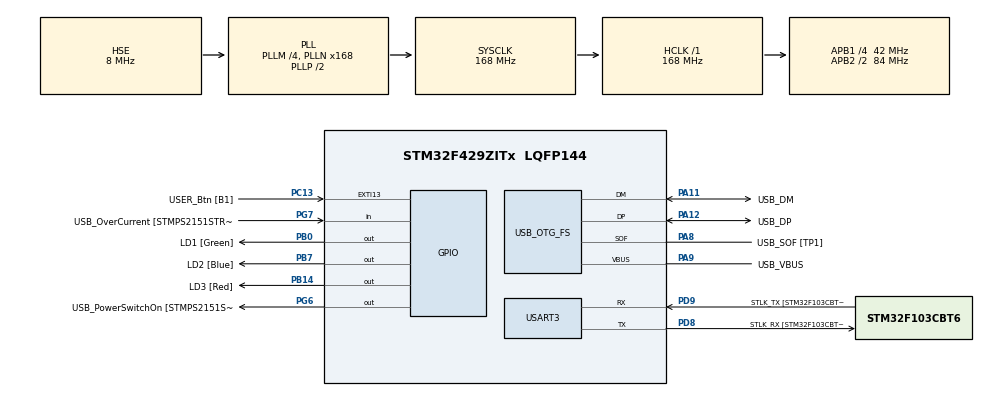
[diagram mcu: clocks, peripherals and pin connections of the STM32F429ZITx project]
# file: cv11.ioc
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Mcu.Family=STM32F4
Mcu.Name=STM32F429ZITx
Mcu.Package=LQFP144
NVIC.OTG_FS_IRQn=true\:0\:0\:false\:false\:true\:false\:true\:true
NVIC.PriorityGroup=NVIC_PRIORITYGROUP_4
PA1.GPIO_Label=RMII_REF_CLK [LAN8742A-CZ-TR_REFCLK0]
PA1.Signal=ETH_REF_CLK
PA10.GPIO_Label=USB_ID
PA10.Signal=USB_OTG_FS_ID
PA11.GPIO_Label=USB_DM
PA11.Mode=Device_Only
PA11.Signal=USB_OTG_FS_DM
PA12.GPIO_Label=USB_DP
PA12.Mode=Device_Only
PA12.Signal=USB_OTG_FS_DP
PA13.GPIO_Label=TMS
PA13.Mode=Serial_Wire
PA13.Signal=SYS_JTMS-SWDIO
PA14.GPIO_Label=TCK
PA14.Mode=Serial_Wire
PA14.Signal=SYS_JTCK-SWCLK
PA2.GPIO_Label=RMII_MDIO [LAN8742A-CZ-TR_MDIO]
PA2.Signal=ETH_MDIO
PA7.GPIO_Label=RMII_CRS_DV [LAN8742A-CZ-TR_CRS_DV]
PA7.Signal=ETH_CRS_DV
PA8.GPIO_Label=USB_SOF [TP1]
PA8.Mode=Activate_SOF_FS
PA8.Signal=USB_OTG_FS_SOF
PA9.GPIO_Label=USB_VBUS
PA9.Mode=Activate_VBUS
PA9.Signal=USB_OTG_FS_VBUS
PB0.GPIO_Label=LD1 [Green]
PB0.Signal=GPIO_Output
PB13.GPIO_Label=RMII_TXD1 [LAN8742A-CZ-TR_TXD1]
PB13.Signal=ETH_TXD1
PB14.GPIO_Label=LD3 [Red]
PB14.Signal=GPIO_Output
PB7.GPIO_Label=LD2 [Blue]
PB7.Signal=GPIO_Output
PC1.GPIO_Label=RMII_MDC [LAN8742A-CZ-TR_MDC]
PC1.Signal=ETH_MDC
PC13.GPIO_Label=USER_Btn [B1]
PC13.Signal=GPXTI13
PC14/OSC32_IN.Mode=LSE-External-Oscillator
PC14/OSC32_IN.Signal=RCC_OSC32_IN
PC15/OSC32_OUT.Mode=LSE-External-Oscillator
PC15/OSC32_OUT.Signal=RCC_OSC32_OUT
PC4.GPIO_Label=RMII_RXD0 [LAN8742A-CZ-TR_RXD0]
PC4.Signal=ETH_RXD0
PC5.GPIO_Label=RMII_RXD1 [LAN8742A-CZ-TR_RXD1]
PC5.Signal=ETH_RXD1
PD8.GPIO_Label=STLK_RX [STM32F103CBT6_PA3]
PD8.Mode=Asynchronous
PD8.Signal=USART3_TX
PD9.GPIO_Label=STLK_TX [STM32F103CBT6_PA2]
PD9.Mode=Asynchronous
PD9.Signal=USART3_RX
PG11.GPIO_Label=RMII_TX_EN [LAN8742A-CZ-TR_TXEN]
PG11.Signal=ETH_TX_EN
PG13.GPIO_Label=RMII_TXD0 [LAN8742A-CZ-TR_TXD0]
PG13.Signal=ETH_TXD0
PG6.GPIO_Label=USB_PowerSwitchOn [STMPS2151STR_EN]
PG6.Signal=GPIO_Output
PG7.GPIO_Label=USB_OverCurrent [STMPS2151STR_FAULT]
PG7.Signal=GPIO_Input
PH0/OSC_IN.GPIO_Label=MCO [STM32F103CBT6_PA8]
PH0/OSC_IN.Mode=HSE-External-Clock-Source
PH0/OSC_IN.Signal=RCC_OSC_IN
PH1/OSC_OUT.Mode=HSE-External-Clock-Source
PH1/OSC_OUT.Signal=RCC_OSC_OUT
ProjectManager.HeapSize=0x200
ProjectManager.StackSize=0x400
ProjectManager.TargetToolchain=STM32CubeIDE
RCC.48MHZClocksFreq_Value=48000000
RCC.AHBFreq_Value=168000000
RCC.APB1CLKDivider=RCC_HCLK_DIV4
RCC.APB1Freq_Value=42000000
RCC.APB1TimFreq_Value=84000000
RCC.APB2CLKDivider=RCC_HCLK_DIV2
RCC.APB2Freq_Value=84000000
RCC.APB2TimCLKDivider=2
RCC.APB2TimFreq_Value=168000000
RCC.CortexFreq_Value=168000000
RCC.HCLKFreq_Value=168000000
RCC.HSE_VALUE=8000000
RCC.HSI_VALUE=16000000
RCC.PLLM=4
RCC.PLLMUL=RCC_PLL_MUL9
RCC.PLLN=168
RCC.PLLQ=7
RCC.PRESCALERUSB=RCC_USBCLKSOURCE_PLL_DIV1_5
RCC.SYSCLKFreq_VALUE=168000000
RCC.SYSCLKSource=RCC_SYSCLKSOURCE_PLLCLK
RCC.SYSCLKSourceVirtual=RCC_SYSCLKSOURCE_PLLCLK
RCC.USBFreq_Value=48000000
RCC.VCOOutputFreq_Value=336000000
USART3.VirtualMode=VM_ASYNC
USB_DEVICE.CLASS_NAME_FS=HID
USB_DEVICE.VirtualMode-HID_FS=Hid
USB_DEVICE.VirtualModeFS=Hid_FS
USB_OTG_FS.VirtualMode=Device_Only
VP_USB_DEVICE_VS_USB_DEVICE_HID_FS.Mode=HID_FS
board=NUCLEO-F429ZI

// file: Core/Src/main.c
/* USER CODE BEGIN Header */
/**
  ******************************************************************************
  * @file           : main.c
  * @brief          : Main program body
  ******************************************************************************
  * @attention
  *
  * Copyright (c) 2024 STMicroelectronics.
  * All rights reserved.
  *
  * This software is licensed under terms that can be found in the LICENSE file
  * in the root directory of this software component.
  * If no LICENSE file comes with this software, it is provided AS-IS.
  *
  ******************************************************************************
  */
/* USER CODE END Header */
#include "main.h"
#include "usb_device.h"

/* USER CODE BEGIN Includes */

#include "usbd_hid.h"
#include "math.h"
#include "stdbool.h"

/* USER CODE END Includes */

/* USER CODE BEGIN PTD */

extern USBD_HandleTypeDef hUsbDeviceFS;

/* USER CODE END PTD */

UART_HandleTypeDef huart3;

void SystemClock_Config(void);
static void MX_GPIO_Init(void);
static void MX_USART3_UART_Init(void);

/* USER CODE BEGIN 0 */

void step(float x, float y, bool click)
{
	static uint8_t buff[4];

	buff[0] = click ? 0x01 : 0x00; // press the left button
	buff[1] = (int32_t) (x); // shift X
	buff[2] = (int32_t) (y); // shift Y
	buff[3] = 0; // no scroll

	USBD_HID_SendReport(&hUsbDeviceFS, buff, sizeof(buff));
	HAL_Delay(USBD_HID_GetPollingInterval(&hUsbDeviceFS));
}

void draw_circle(int32_t r, int32_t part)
{
	float x, y;
	float sx = -r, sy = 0;

	for (float i = 0; i <= (M_TWOPI + 0.01) / part; i += M_TWOPI / 50) {
		x = r * cosf(i) * (-1);
		y = r * sinf(i);

		step(x - sx, y - sy, true);

		sx = x;
		sy = y;
	}
}

/* USER CODE END 0 */

int main(void)
{

  /* MCU Configuration--------------------------------------------------------*/

  /* Reset of all peripherals, Initializes the Flash interface and the Systick. */
  HAL_Init();

  /* Configure the system clock */
  SystemClock_Config();

  /* Initialize all configured peripherals */
  MX_GPIO_Init();
  MX_USART3_UART_Init();
  MX_USB_DEVICE_Init();

  /* Infinite loop */
  /* USER CODE BEGIN WHILE */
	while (1) {
		const uint16_t r1 = 400;
		const uint8_t r2 = 40;

		draw_circle(r1, 1);

		step(0, 0, false);
		step(100, -100, false);
		step(100, -100, false);

		draw_circle(r2, 1);

		step(0, 0, false);
		step(100, 0, false);
		step(100, 0, false);
		step(100, 0, false);

		draw_circle(r2, 1);

		step(0, 0, false);
		step(-100, 100, false);

		// nose
		step(0, 100, true);
		step(0, 100, true);

		step(0, 0, false);
		step(-100, 60, false);

		// mouth
		draw_circle(120, 2);

		step(0, 0, false);
		step(100, 100, false);
		step(100, 50, false);
		/* USER CODE END WHILE */

	}
}

void SystemClock_Config(void)
{
  RCC_OscInitTypeDef RCC_OscInitStruct = {0};
  RCC_ClkInitTypeDef RCC_ClkInitStruct = {0};

  /** Configure the main internal regulator output voltage
  */
  __HAL_RCC_PWR_CLK_ENABLE();
  __HAL_PWR_VOLTAGESCALING_CONFIG(PWR_REGULATOR_VOLTAGE_SCALE1);

  /** Initializes the RCC Oscillators according to the specified parameters
  * in the RCC_OscInitTypeDef structure.
  */
  RCC_OscInitStruct.OscillatorType = RCC_OSCILLATORTYPE_HSE;
  RCC_OscInitStruct.HSEState = RCC_HSE_BYPASS;
  RCC_OscInitStruct.PLL.PLLState = RCC_PLL_ON;
  RCC_OscInitStruct.PLL.PLLSource = RCC_PLLSOURCE_HSE;
  RCC_OscInitStruct.PLL.PLLM = 4;
  RCC_OscInitStruct.PLL.PLLN = 168;
  RCC_OscInitStruct.PLL.PLLP = RCC_PLLP_DIV2;
  RCC_OscInitStruct.PLL.PLLQ = 7;
  if (HAL_RCC_OscConfig(&RCC_OscInitStruct) != HAL_OK)
  {
    Error_Handler();
  }

  /** Initializes the CPU, AHB and APB buses clocks
  */
  RCC_ClkInitStruct.ClockType = RCC_CLOCKTYPE_HCLK|RCC_CLOCKTYPE_SYSCLK
                              |RCC_CLOCKTYPE_PCLK1|RCC_CLOCKTYPE_PCLK2;
  RCC_ClkInitStruct.SYSCLKSource = RCC_SYSCLKSOURCE_PLLCLK;
  RCC_ClkInitStruct.AHBCLKDivider = RCC_SYSCLK_DIV1;
  RCC_ClkInitStruct.APB1CLKDivider = RCC_HCLK_DIV4;
  RCC_ClkInitStruct.APB2CLKDivider = RCC_HCLK_DIV2;

  if (HAL_RCC_ClockConfig(&RCC_ClkInitStruct, FLASH_LATENCY_5) != HAL_OK)
  {
    Error_Handler();
  }
}

static void MX_USART3_UART_Init(void)
{

  huart3.Instance = USART3;
  huart3.Init.BaudRate = 115200;
  huart3.Init.WordLength = UART_WORDLENGTH_8B;
  huart3.Init.StopBits = UART_STOPBITS_1;
  huart3.Init.Parity = UART_PARITY_NONE;
  huart3.Init.Mode = UART_MODE_TX_RX;
  huart3.Init.HwFlowCtl = UART_HWCONTROL_NONE;
  huart3.Init.OverSampling = UART_OVERSAMPLING_16;
  if (HAL_UART_Init(&huart3) != HAL_OK)
  {
    Error_Handler();
  }

}

static void MX_GPIO_Init(void)
{
  GPIO_InitTypeDef GPIO_InitStruct = {0};

  /* GPIO Ports Clock Enable */
  __HAL_RCC_GPIOC_CLK_ENABLE();
  __HAL_RCC_GPIOH_CLK_ENABLE();
  __HAL_RCC_GPIOA_CLK_ENABLE();
  __HAL_RCC_GPIOB_CLK_ENABLE();
  __HAL_RCC_GPIOD_CLK_ENABLE();
  __HAL_RCC_GPIOG_CLK_ENABLE();

  /*Configure GPIO pin Output Level */
  HAL_GPIO_WritePin(GPIOB, LD1_Pin|LD3_Pin|LD2_Pin, GPIO_PIN_RESET);

  /*Configure GPIO pin Output Level */
  HAL_GPIO_WritePin(USB_PowerSwitchOn_GPIO_Port, USB_PowerSwitchOn_Pin, GPIO_PIN_RESET);

  /*Configure GPIO pin : USER_Btn_Pin */
  GPIO_InitStruct.Pin = USER_Btn_Pin;
  GPIO_InitStruct.Mode = GPIO_MODE_IT_RISING;
  GPIO_InitStruct.Pull = GPIO_NOPULL;
  HAL_GPIO_Init(USER_Btn_GPIO_Port, &GPIO_InitStruct);

  /*Configure GPIO pins : RMII_MDC_Pin RMII_RXD0_Pin RMII_RXD1_Pin */
  GPIO_InitStruct.Pin = RMII_MDC_Pin|RMII_RXD0_Pin|RMII_RXD1_Pin;
  GPIO_InitStruct.Mode = GPIO_MODE_AF_PP;
  GPIO_InitStruct.Pull = GPIO_NOPULL;
  GPIO_InitStruct.Speed = GPIO_SPEED_FREQ_VERY_HIGH;
  GPIO_InitStruct.Alternate = GPIO_AF11_ETH;
  HAL_GPIO_Init(GPIOC, &GPIO_InitStruct);

  /*Configure GPIO pins : RMII_REF_CLK_Pin RMII_MDIO_Pin RMII_CRS_DV_Pin */
  GPIO_InitStruct.Pin = RMII_REF_CLK_Pin|RMII_MDIO_Pin|RMII_CRS_DV_Pin;
  GPIO_InitStruct.Mode = GPIO_MODE_AF_PP;
  GPIO_InitStruct.Pull = GPIO_NOPULL;
  GPIO_InitStruct.Speed = GPIO_SPEED_FREQ_VERY_HIGH;
  GPIO_InitStruct.Alternate = GPIO_AF11_ETH;
  HAL_GPIO_Init(GPIOA, &GPIO_InitStruct);

  /*Configure GPIO pins : LD1_Pin LD3_Pin LD2_Pin */
  GPIO_InitStruct.Pin = LD1_Pin|LD3_Pin|LD2_Pin;
  GPIO_InitStruct.Mode = GPIO_MODE_OUTPUT_PP;
  GPIO_InitStruct.Pull = GPIO_NOPULL;
  GPIO_InitStruct.Speed = GPIO_SPEED_FREQ_LOW;
  HAL_GPIO_Init(GPIOB, &GPIO_InitStruct);

  /*Configure GPIO pin : RMII_TXD1_Pin */
  GPIO_InitStruct.Pin = RMII_TXD1_Pin;
  GPIO_InitStruct.Mode = GPIO_MODE_AF_PP;
  GPIO_InitStruct.Pull = GPIO_NOPULL;
  GPIO_InitStruct.Speed = GPIO_SPEED_FREQ_VERY_HIGH;
  GPIO_InitStruct.Alternate = GPIO_AF11_ETH;
  HAL_GPIO_Init(RMII_TXD1_GPIO_Port, &GPIO_InitStruct);

  /*Configure GPIO pin : USB_PowerSwitchOn_Pin */
  GPIO_InitStruct.Pin = USB_PowerSwitchOn_Pin;
  GPIO_InitStruct.Mode = GPIO_MODE_OUTPUT_PP;
  GPIO_InitStruct.Pull = GPIO_NOPULL;
  GPIO_InitStruct.Speed = GPIO_SPEED_FREQ_LOW;
  HAL_GPIO_Init(USB_PowerSwitchOn_GPIO_Port, &GPIO_InitStruct);

  /*Configure GPIO pin : USB_OverCurrent_Pin */
  GPIO_InitStruct.Pin = USB_OverCurrent_Pin;
  GPIO_InitStruct.Mode = GPIO_MODE_INPUT;
  GPIO_InitStruct.Pull = GPIO_NOPULL;
  HAL_GPIO_Init(USB_OverCurrent_GPIO_Port, &GPIO_InitStruct);

  /*Configure GPIO pins : RMII_TX_EN_Pin RMII_TXD0_Pin */
  GPIO_InitStruct.Pin = RMII_TX_EN_Pin|RMII_TXD0_Pin;
  GPIO_InitStruct.Mode = GPIO_MODE_AF_PP;
  GPIO_InitStruct.Pull = GPIO_NOPULL;
  GPIO_InitStruct.Speed = GPIO_SPEED_FREQ_VERY_HIGH;
  GPIO_InitStruct.Alternate = GPIO_AF11_ETH;
  HAL_GPIO_Init(GPIOG, &GPIO_InitStruct);

}

void Error_Handler(void)
{
  __disable_irq();
  while (1)
  {
  }
}
